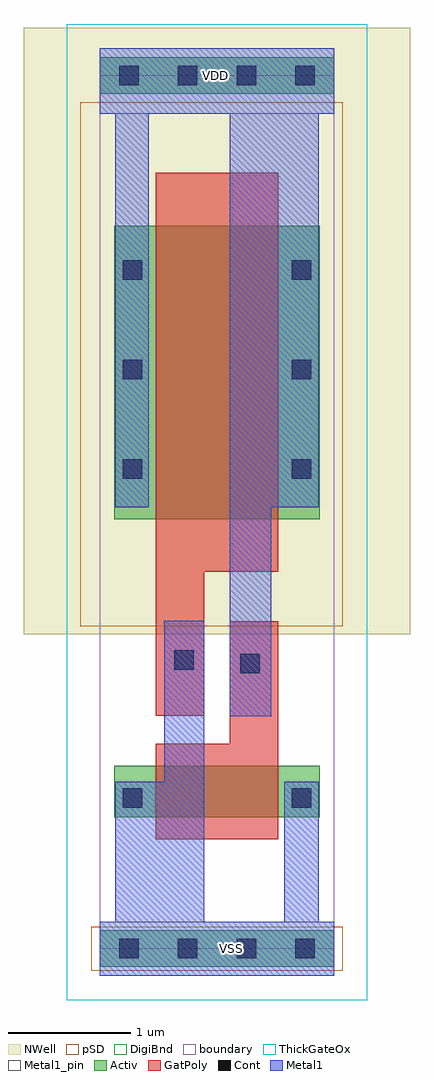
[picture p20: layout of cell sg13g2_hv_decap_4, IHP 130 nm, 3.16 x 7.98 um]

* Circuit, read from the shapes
.subckt sg13g2_hv_decap_4 VDD VSS
XM1 VSS VDD VSS VSS sg13_hv_nmos w=0.42u l=1u
XM2 VDD VSS VDD VDD sg13_hv_pmos w=2.4u l=1u
.ends

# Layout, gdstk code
import gdstk
lib = gdstk.Library(unit=1e-6, precision=1e-09)
def R(c, l, rs):  # rectangles x0, y0, x1, y1
    for r in rs: c.add(gdstk.rectangle(r[:2], r[2:], *l))
def A(c, l, x, y, w, h, nx, ny, dx, dy):  # array of equal rectangles
    R(c, l, [(x+i*dx, y+j*dy, x+i*dx+w, y+j*dy+h) for i in range(nx) for j in range(ny)])
def P(c, l, *ps):  # polygons
    for p in ps: c.add(gdstk.Polygon(p, *l))
Activ = (1, 0)
GatPoly = (5, 0)
Cont = (6, 0)
Metal1 = (8, 0)
Metal1_pin = (8, 2)
pSD = (14, 0)
DigiBnd = (16, 0)
NWell = (31, 0)
ThickGateOx = (44, 0)
boundary = (189, 4)

sg13g2_hv_decap_4 = lib.new_cell('sg13g2_hv_decap_4')
R(sg13g2_hv_decap_4, Activ, [(0,-0.15,1.92,0.15), (0.12,1.075,1.8,1.495), (0.12,3.51,1.8,5.91), (0,6.99,1.92,7.29)])
P(sg13g2_hv_decap_4, GatPoly, [(0.46,1.905),(0.46,6.345),(1.46,6.345),(1.46,3.08),(0.855,3.08),(0.855,1.905)],
  [(0.46,0.895),(0.46,1.675),(1.065,1.675),(1.065,2.675),(1.46,2.675),(1.46,0.895)])
A(sg13g2_hv_decap_4, Cont, 0.16, -0.08, 0.16, 0.16, 4, 2, 0.48, 7.14)
A(sg13g2_hv_decap_4, Cont, 0.19, 3.84, 0.16, 0.16, 1, 3, 0, 0.815)
A(sg13g2_hv_decap_4, Cont, 1.57, 3.84, 0.16, 0.16, 1, 3, 0, 0.815)
R(sg13g2_hv_decap_4, Cont, [(0.19,1.15,0.35,1.31), (1.57,1.15,1.73,1.31), (1.15,2.25,1.31,2.41), (0.61,2.28,0.77,2.44)])
P(sg13g2_hv_decap_4, Metal1, [(0,-0.22),(0,0.22),(0.13,0.22),(0.13,1.365),(0.53,1.365),(0.53,2.68),(0.855,2.68),(0.855,0.22),(1.51,0.22),(1.51,1.365),(1.79,1.365),(1.79,0.22),(1.92,0.22),(1.92,-0.22)],
  [(1.065,1.9),(1.065,6.825),(0.4,6.825),(0.4,3.61),(0.13,3.61),(0.13,6.825),(0,6.825),(0,7.36),(1.92,7.36),(1.92,6.825),(1.79,6.825),(1.79,3.61),(1.405,3.61),(1.405,1.9)])
R(sg13g2_hv_decap_4, Metal1_pin, [(0,-0.22,1.92,0.22), (0,6.825,1.92,7.36)])
R(sg13g2_hv_decap_4, pSD, [(-0.07,-0.18,1.99,0.18), (-0.16,2.635,1.99,6.92)])
R(sg13g2_hv_decap_4, DigiBnd, [(0,0,1.92,7.14)])
R(sg13g2_hv_decap_4, NWell, [(-0.62,2.57,2.54,7.53)])
R(sg13g2_hv_decap_4, ThickGateOx, [(-0.27,-0.42,2.19,7.56)])
R(sg13g2_hv_decap_4, boundary, [(0,0,1.92,7.14)])
sg13g2_hv_decap_4.add(gdstk.Label('VDD', (0.95,7.14), layer=8, texttype=25))
sg13g2_hv_decap_4.add(gdstk.Label('VSS', (1.08,0), layer=8, texttype=25))

lib.write_gds('sg13g2_hv_decap_4.gds')
